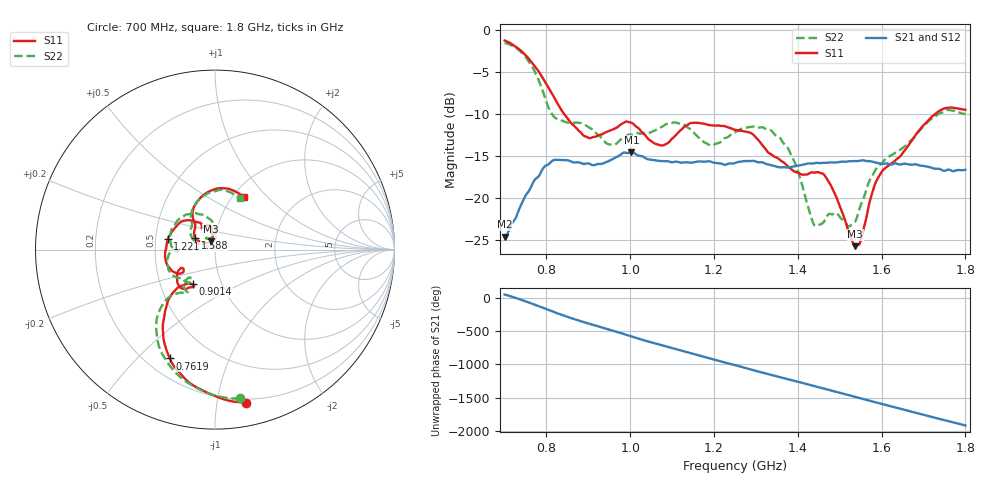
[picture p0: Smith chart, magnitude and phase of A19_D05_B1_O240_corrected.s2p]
! Created with skrf 1.9.0 (http://scikit-rf.org).
# Hz S RI R 50.0
!freq ReS11 ImS11 ReS21 ImS21 ReS12 ImS12 ReS22 ImS22
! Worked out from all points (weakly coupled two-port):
!   1601 points, 700 MHz to 1.8 GHz, reference 50 ohm
!   highest |S21| = -14.52 dB at 1.002 GHz (marker M1); lowest = -24.6 dB at 700 MHz (marker M2)
!   lowest |S11| = -25.7 dB at 1.537 GHz (marker M3), VSWR 1.11, Z = 47.6 + j4.44 ohm
!   |S11| at or under -10 dB: 842.5 MHz to 1.727 GHz (884.6 MHz wide, 68.9 % of centre)
!   |S22| runs from -23.4 to -1.5 dB; largest |S21 - S12| = 0.0035
!   S11 on the Smith chart (normalised r, x): 700 MHz: 0.17, -1.21; 761.9 MHz: 0.29, -0.63; 901.4 MHz: 0.73, -0.30; 1.221 GHz: 0.58, +0.07; 1.588 GHz: 0.80, +0.10; 1.8 GHz: 1.13, +0.75
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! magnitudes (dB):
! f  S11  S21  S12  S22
! 700 MHz  -1.2  -24.6  -24.4  -1.5
! 761.9 MHz  -3.7  -18.8  -18.7  -4.0
! 816.9 MHz  -7.9  -15.5  -15.6  -10.2
! 883.6 MHz  -12.3  -15.9  -15.8  -11.1
! 901.4 MHz  -12.8  -15.9  -15.9  -11.6
! 952.3 MHz  -11.9  -15.5  -15.5  -13.6
! 1.002 GHz  -11.0  -14.5  -14.6  -12.5
! 1.067 GHz  -13.6  -15.6  -15.5  -11.7
! 1.144 GHz  -11.1  -15.8  -15.8  -11.8
! 1.191 GHz  -11.3  -15.6  -15.7  -13.7
! 1.221 GHz  -11.4  -16.0  -16.0  -13.0
! 1.25 GHz  -11.9  -15.8  -15.7  -12.1
! 1.357 GHz  -15.5  -16.3  -16.3  -12.8
! 1.394 GHz  -16.9  -16.2  -16.2  -16.0
! 1.434 GHz  -16.9  -15.9  -15.8  -22.6
! 1.476 GHz  -18.2  -15.8  -15.8  -21.9
! 1.537 GHz  -25.7  -15.6  -15.6  -22.8
! 1.55 GHz  -25.1  -15.5  -15.5  -20.9
! 1.588 GHz  -17.9  -15.8  -15.8  -16.4
! 1.617 GHz  -16.1  -15.9  -15.9  -15.1
! 1.733 GHz  -9.8  -16.5  -16.5  -10.1
! 1.8 GHz  -9.5  -16.6  -16.6  -10.0
